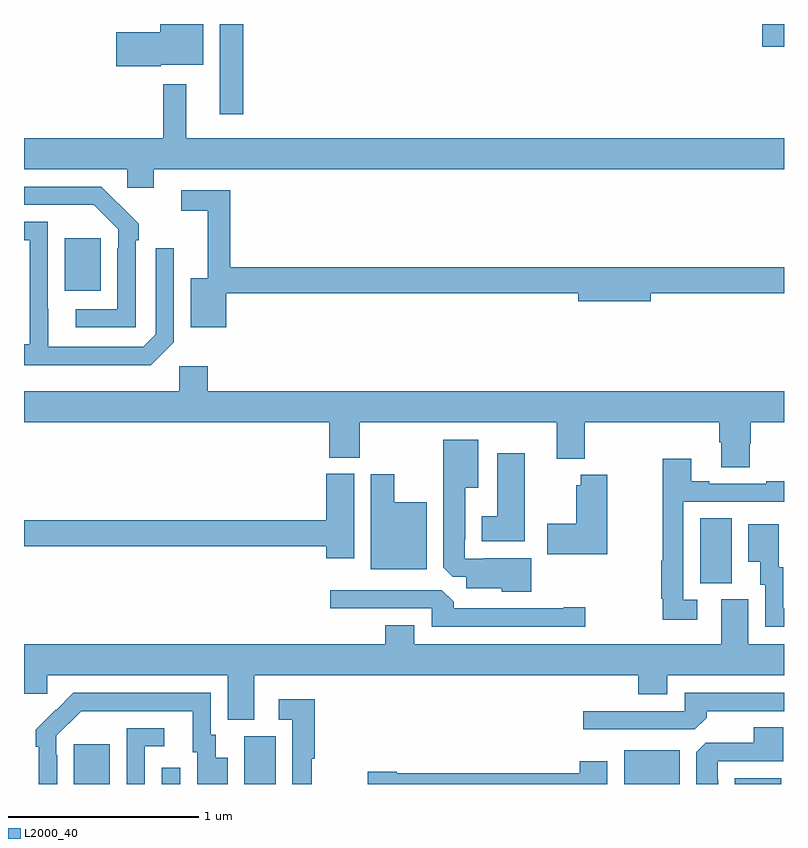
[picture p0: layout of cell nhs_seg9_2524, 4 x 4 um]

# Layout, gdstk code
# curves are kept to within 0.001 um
import gdstk
lib = gdstk.Library(unit=1e-6, precision=1e-09)
def R(c, l, rs):  # rectangles x0, y0, x1, y1
    for r in rs: c.add(gdstk.rectangle(r[:2], r[2:], *l))
def P(c, l, *ps):  # polygons
    for p in ps: c.add(gdstk.Polygon(p, *l))
L2000_40 = (2000, 40)

nhs_seg9_2524 = lib.new_cell('nhs_seg9_2524')
R(nhs_seg9_2524, L2000_40, [(255.263,1210.5,255.451,1210.708), (255.726,1210.5,255.822,1210.585), (256.16,1210.5,256.324,1210.752), (258.158,1210.5,258.451,1210.678), (258.74,1210.5,258.985,1210.531), (258.56,1211.557,258.724,1211.9), (255.215,1213.097,255.403,1213.372), (256.031,1214.025,256.153,1214.5), (258.885,1214.381,259,1214.5)])
P(nhs_seg9_2524, L2000_40, [(255.72,1214.285),(255.943,1214.285),(255.943,1214.5),(255.716,1214.5),(255.716,1214.456),(255.486,1214.456),(255.486,1214.278),(255.72,1214.278)],
  [(259,1213.9),(255.853,1213.9),(255.853,1214.182),(255.732,1214.182),(255.732,1213.9),(255,1213.9),(255,1213.736),(255.543,1213.736),(255.543,1213.638),(255.682,1213.638),(255.682,1213.736),(259,1213.736)],
  [(255.588,1213.361),(255.603,1213.361),(255.603,1213.449),(255.406,1213.644),(255,1213.644),(255,1213.548),(255.367,1213.548),(255.495,1213.419),(255.495,1213.319),(255.492,1213.319),(255.492,1212.999),(255.273,1212.999),(255.273,1212.903),(255.588,1212.903)],
  [(256.065,1213.084),(257.918,1213.084),(257.918,1213.042),(258.298,1213.042),(258.298,1213.084),(259,1213.084),(259,1213.22),(256.085,1213.22),(256.085,1213.626),(255.828,1213.626),(255.828,1213.518),(255.968,1213.518),(255.968,1213.162),(255.878,1213.162),(255.878,1212.905),(256.065,1212.905)],
  [(255.789,1212.825),(255.789,1213.321),(255.693,1213.321),(255.693,1212.867),(255.627,1212.801),(255.127,1212.801),(255.126,1213.458),(255,1213.458),(255,1213.362),(255.03,1213.362),(255.03,1212.814),(255,1212.814),(255,1212.704),(255.668,1212.704)],
  [(258.819,1212.291),(258.824,1212.291),(258.824,1212.404),(259,1212.404),(259,1212.568),(255.968,1212.568),(255.968,1212.7),(255.816,1212.7),(255.816,1212.568),(255,1212.568),(255,1212.404),(256.607,1212.404),(256.607,1212.217),(256.767,1212.217),(256.767,1212.404),(257.804,1212.404),(257.804,1212.212),(257.952,1212.212),(257.952,1212.404),(258.659,1212.404),(258.659,1212.298),(258.671,1212.298),(258.671,1212.166),(258.819,1212.166)],
  [(257.671,1211.689),(257.419,1211.689),(257.419,1211.685),(257.319,1211.685),(257.319,1211.785),(257.323,1211.785),(257.323,1212.059),(257.392,1212.059),(257.392,1212.313),(257.207,1212.313),(257.207,1211.641),(257.256,1211.592),(257.327,1211.592),(257.327,1211.531),(257.514,1211.531),(257.514,1211.513),(257.671,1211.513)],
  [(257.635,1212.241),(257.492,1212.241),(257.492,1211.908),(257.408,1211.908),(257.408,1211.777),(257.635,1211.777)],
  [(258.544,1211.469),(258.471,1211.469),(258.471,1211.985),(259,1211.985),(259,1212.094),(258.907,1212.094),(258.907,1212.081),(258.607,1212.081),(258.607,1212.094),(258.511,1212.094),(258.511,1212.211),(258.363,1212.211),(258.363,1211.676),(258.355,1211.676),(258.355,1211.476),(258.363,1211.476),(258.363,1211.364),(258.544,1211.364)],
  [(256.738,1212.132),(256.592,1212.132),(256.592,1211.888),(255,1211.888),(255,1211.752),(256.592,1211.752),(256.592,1211.688),(256.738,1211.688)],
  [(257.119,1211.983),(256.948,1211.983),(256.948,1212.13),(256.826,1212.13),(256.826,1211.63),(257.119,1211.63)],
  [(258.069,1212.127),(257.929,1212.127),(257.929,1212.073),(257.906,1212.073),(257.906,1211.871),(257.754,1211.871),(257.754,1211.708),(258.069,1211.708)],
  [(259,1211.424),(258.997,1211.424),(258.997,1211.64),(258.973,1211.64),(258.973,1211.866),(258.812,1211.866),(258.812,1211.669),(258.875,1211.669),(258.875,1211.55),(258.9,1211.55),(258.9,1211.328),(259,1211.328)],
  [(257.953,1211.429),(257.84,1211.429),(257.84,1211.424),(257.261,1211.424),(257.261,1211.458),(257.199,1211.52),(256.611,1211.52),(256.611,1211.424),(257.145,1211.424),(257.145,1211.328),(257.953,1211.328)],
  [(258.233,1210.973),(258.385,1210.973),(258.385,1211.072),(259,1211.072),(259,1211.236),(258.811,1211.236),(258.811,1211.472),(258.671,1211.472),(258.671,1211.236),(257.053,1211.236),(257.053,1211.335),(256.901,1211.335),(256.901,1211.236),(255,1211.236),(255,1210.974),(255.123,1210.974),(255.123,1211.072),(256.073,1211.072),(256.073,1210.837),(256.213,1210.837),(256.213,1211.072),(258.233,1211.072)],
  [(255.174,1210.655),(255.171,1210.655),(255.171,1210.755),(255.3,1210.884),(255.887,1210.884),(255.887,1210.668),(255.911,1210.668),(255.911,1210.5),(256.072,1210.5),(256.072,1210.639),(256.009,1210.639),(256.009,1210.758),(255.984,1210.758),(255.984,1210.98),(255.26,1210.98),(255.063,1210.785),(255.063,1210.697),(255.078,1210.697),(255.078,1210.5),(255.174,1210.5)],
  [(258.593,1210.85),(258.593,1210.884),(259,1210.884),(259,1210.98),(258.477,1210.98),(258.477,1210.884),(257.943,1210.884),(257.943,1210.788),(258.531,1210.788)],
  [(256.514,1210.632),(256.529,1210.632),(256.529,1210.945),(256.341,1210.945),(256.341,1210.839),(256.413,1210.839),(256.413,1210.5),(256.514,1210.5)],
  [(258.655,1210.523),(258.651,1210.523),(258.651,1210.62),(258.995,1210.62),(258.995,1210.799),(258.842,1210.799),(258.842,1210.716),(258.588,1210.716),(258.539,1210.667),(258.539,1210.5),(258.655,1210.5)],
  [(255.636,1210.698),(255.739,1210.698),(255.739,1210.794),(255.54,1210.794),(255.54,1210.5),(255.636,1210.5)],
  [(258.07,1210.621),(257.924,1210.621),(257.924,1210.556),(256.962,1210.556),(256.962,1210.564),(256.808,1210.564),(256.808,1210.5),(258.07,1210.5)])

lib.write_gds('nhs_seg9_2524.gds')
